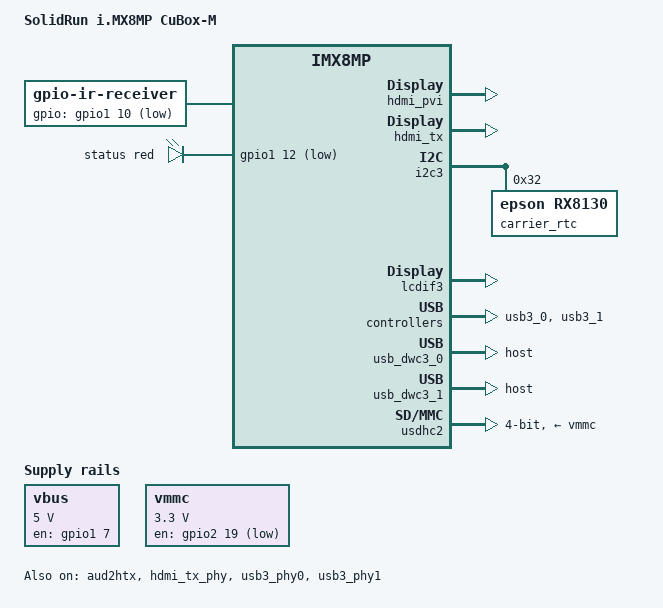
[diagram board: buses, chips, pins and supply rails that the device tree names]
// SPDX-License-Identifier: (GPL-2.0+ OR MIT)
/*
 * Copyright 2025 Josua Mayer <josua@solid-run.com>
 */

/dts-v1/;

#include <dt-bindings/leds/common.h>

#include "imx8mp-sr-som.dtsi"

/ {
	model = "SolidRun i.MX8MP CuBox-M";
	compatible = "solidrun,imx8mp-cubox-m",
		     "solidrun,imx8mp-sr-som", "fsl,imx8mp";

	aliases {
		ethernet0 = &eqos;
		/delete-property/ ethernet1;
		rtc0 = &carrier_rtc;
		rtc1 = &snvs_rtc;
	};

	ir-receiver {
		compatible = "gpio-ir-receiver";
		gpios = <&gpio1 10 GPIO_ACTIVE_LOW>;
		pinctrl-names = "default";
		pinctrl-0 = <&ir_pins>;
		linux,autosuspend-period = <125>;
		wakeup-source;
	};

	leds {
		compatible = "gpio-leds";
		pinctrl-names = "default";
		pinctrl-0 = <&led_pins>;

		status {
			label = "status";
			color = <LED_COLOR_ID_RED>;
			gpios = <&gpio1 12 GPIO_ACTIVE_LOW>;
			function = LED_FUNCTION_HEARTBEAT;
		};
	};

	sound-hdmi {
		compatible = "fsl,imx-audio-hdmi";
		model = "audio-hdmi";
		audio-cpu = <&aud2htx>;
		hdmi-out;
	};

	vbus: regulator-vbus {
		compatible = "regulator-fixed";
		regulator-name = "vbus";
		gpio = <&gpio1 7 GPIO_ACTIVE_HIGH>;
		enable-active-high;
		pinctrl-names = "default";
		pinctrl-0 = <&vbus_pins>;
		regulator-min-microvolt = <5000000>;
		regulator-max-microvolt = <5000000>;
	};

	vmmc: regulator-mmc {
		compatible = "regulator-fixed";
		pinctrl-names = "default";
		pinctrl-0 = <&vmmc_pins>;
		regulator-name = "vmmc";
		regulator-min-microvolt = <3300000>;
		regulator-max-microvolt = <3300000>;
		gpio = <&gpio2 19 GPIO_ACTIVE_HIGH>;
		startup-delay-us = <250>;
	};
};

&aud2htx {
	status = "okay";
};

&fec {
	/* this board does not use second phy / ethernet on SoM */
	status = "disabled";
};

&hdmi_pvi {
	status = "okay";
};

&hdmi_tx {
	status = "okay";
};

&hdmi_tx_phy {
	status = "okay";
};

&i2c3 {
	carrier_rtc: rtc@32 {
		compatible = "epson,rx8130";
		reg = <0x32>;
	};
};

&iomuxc {
	pinctrl-names = "default";
	pinctrl-0 = <&hdmi_pins>;

	hdmi_pins: pinctrl-hdmi-grp {
		fsl,pins = <
			MX8MP_IOMUXC_HDMI_DDC_SCL__HDMIMIX_HDMI_SCL	0x400001c3
			MX8MP_IOMUXC_HDMI_DDC_SDA__HDMIMIX_HDMI_SDA	0x400001c3
			MX8MP_IOMUXC_HDMI_CEC__HDMIMIX_HDMI_CEC		0x154
			MX8MP_IOMUXC_HDMI_HPD__HDMIMIX_HDMI_HPD		0x154
		>;
	};

	ir_pins: pinctrl-ir-grp {
		fsl,pins = <
			MX8MP_IOMUXC_GPIO1_IO10__GPIO1_IO10		0x4f
		>;
	};

	led_pins: pinctrl-led-grp {
		fsl,pins = <
			MX8MP_IOMUXC_GPIO1_IO12__GPIO1_IO12		0x0
		>;
	};

	usdhc2_pins: pinctrl-usdhc2-grp {
		fsl,pins = <
			MX8MP_IOMUXC_SD2_CLK__USDHC2_CLK		0x190
			MX8MP_IOMUXC_SD2_CMD__USDHC2_CMD		0x1d0
			MX8MP_IOMUXC_SD2_DATA0__USDHC2_DATA0		0x1d0
			MX8MP_IOMUXC_SD2_DATA1__USDHC2_DATA1		0x1d0
			MX8MP_IOMUXC_SD2_DATA2__USDHC2_DATA2		0x1d0
			MX8MP_IOMUXC_SD2_DATA3__USDHC2_DATA3		0x1d0
			MX8MP_IOMUXC_GPIO1_IO04__USDHC2_VSELECT		0x140
			MX8MP_IOMUXC_SD2_CD_B__USDHC2_CD_B		0x140
		>;
	};

	usdhc2_100mhz_pins: pinctrl-usdhc2-100mhz-grp {
		fsl,pins = <
			MX8MP_IOMUXC_SD2_CLK__USDHC2_CLK		0x194
			MX8MP_IOMUXC_SD2_CMD__USDHC2_CMD		0x1d4
			MX8MP_IOMUXC_SD2_DATA0__USDHC2_DATA0		0x1d4
			MX8MP_IOMUXC_SD2_DATA1__USDHC2_DATA1		0x1d4
			MX8MP_IOMUXC_SD2_DATA2__USDHC2_DATA2		0x1d4
			MX8MP_IOMUXC_SD2_DATA3__USDHC2_DATA3		0x1d4
			MX8MP_IOMUXC_GPIO1_IO04__USDHC2_VSELECT		0x140
			MX8MP_IOMUXC_SD2_CD_B__USDHC2_CD_B		0x140
		>;
	};

	usdhc2_200mhz_pins: pinctrl-usdhc2-200mhz-grp {
		fsl,pins = <
			MX8MP_IOMUXC_SD2_CLK__USDHC2_CLK		0x196
			MX8MP_IOMUXC_SD2_CMD__USDHC2_CMD		0x1d6
			MX8MP_IOMUXC_SD2_DATA0__USDHC2_DATA0		0x1d6
			MX8MP_IOMUXC_SD2_DATA1__USDHC2_DATA1		0x1d6
			MX8MP_IOMUXC_SD2_DATA2__USDHC2_DATA2		0x1d6
			MX8MP_IOMUXC_SD2_DATA3__USDHC2_DATA3		0x1d6
			MX8MP_IOMUXC_GPIO1_IO04__USDHC2_VSELECT		0x140
			MX8MP_IOMUXC_SD2_CD_B__USDHC2_CD_B		0x140
		>;
	};

	vbus_pins: pinctrl-vbus-grp {
		fsl,pins = <
			MX8MP_IOMUXC_GPIO1_IO07__GPIO1_IO07		0x100
		>;
	};

	vmmc_pins: pinctrl-vmmc-grp {
		fsl,pins = <
			MX8MP_IOMUXC_SD2_RESET_B__GPIO2_IO19		0x0
		>;
	};
};

&lcdif3 {
	status = "okay";
};

&usb3_phy0 {
	fsl,phy-tx-preemp-amp-tune-microamp = <1200>;
	vbus-supply = <&vbus>;
	status = "okay";
};

&usb3_0 {
	status = "okay";
};

&usb3_phy1 {
	fsl,phy-tx-preemp-amp-tune-microamp = <1200>;
	vbus-supply = <&vbus>;
	status = "okay";
};

&usb3_1 {
	status = "okay";
};

&usb_dwc3_0 {
	dr_mode = "host";
};

&usb_dwc3_1 {
	dr_mode = "host";
};

&usdhc2 {
	pinctrl-names = "default", "state_100mhz", "state_200mhz";
	pinctrl-0 = <&usdhc2_pins>;
	pinctrl-1 = <&usdhc2_100mhz_pins>;
	pinctrl-2 = <&usdhc2_200mhz_pins>;
	vmmc-supply = <&vmmc>;
	bus-width = <4>;
	cap-power-off-card;
	full-pwr-cycle;
	status = "okay";
};
